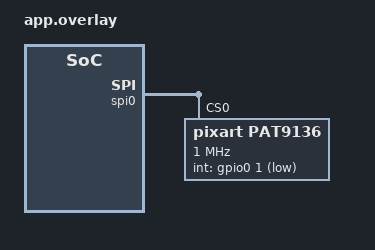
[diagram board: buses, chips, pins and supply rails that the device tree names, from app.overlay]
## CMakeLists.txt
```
# Copyright The Zephyr Project Contributors
# SPDX-License-Identifier: Apache-2.0

cmake_minimum_required(VERSION 3.28.0)
find_package(Zephyr REQUIRED HINTS $ENV{ZEPHYR_BASE})
project(pat9136)

target_include_directories(app PRIVATE ${ZEPHYR_BASE}/drivers/sensor/pixart/pat9136)
target_sources(app PRIVATE src/main.c)
```

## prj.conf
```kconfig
# Copyright The Zephyr Project Contributors
# SPDX-License-Identifier: Apache-2.0

CONFIG_ZTEST=y
CONFIG_SENSOR=y
CONFIG_EMUL=y
# The int-gpios property of the device refers to the emulated GPIO controller
CONFIG_GPIO=y
# No emulator backs the device, only its decoder is tested
CONFIG_SENSOR_LOG_LEVEL_OFF=y
```

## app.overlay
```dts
/*
 * Copyright The Zephyr Project Contributors
 *
 * SPDX-License-Identifier: Apache-2.0
 */

#include <zephyr/dt-bindings/gpio/gpio.h>

&spi0 {
	pat9136: pat9136@0 {
		compatible = "pixart,pat9136";
		reg = <0>;
		spi-max-frequency = <1000000>;
		int-gpios = <&gpio0 1 GPIO_ACTIVE_LOW>;
	};
};
```

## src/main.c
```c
/*
 * Copyright The Zephyr Project Contributors
 *
 * SPDX-License-Identifier: Apache-2.0
 */

#include <string.h>

#include <zephyr/drivers/sensor.h>
#include <zephyr/drivers/sensor/pat9136.h>
#include <zephyr/sys/byteorder.h>
#include <zephyr/ztest.h>

#include "pat9136.h"
#include "pat9136_decoder.h"

/* Allowed error of a decoded distance, in nm */
#define TOLERANCE_NM 20

#define TIMESTAMP_NS 123456789012ULL

#define MOTION_DETECTED   0x80U
#define OBSERVATION_VALID 0xB7U

static const struct sensor_decoder_api *decoder = SENSOR_DECODER_DT_GET(DT_NODELABEL(pat9136));

static const struct sensor_chan_spec chan_dx = {SENSOR_CHAN_POS_DX, 0};
static const struct sensor_chan_spec chan_dy = {SENSOR_CHAN_POS_DY, 0};
static const struct sensor_chan_spec chan_dxyz = {SENSOR_CHAN_POS_DXYZ, 0};
static const struct sensor_chan_spec chan_dx_mm = {SENSOR_CHAN_POS_DX_MM, 0};
static const struct sensor_chan_spec chan_dy_mm = {SENSOR_CHAN_POS_DY_MM, 0};
static const struct sensor_chan_spec chan_dxyz_mm = {SENSOR_CHAN_POS_DXYZ_MM, 0};

static struct pat9136_encoded_data edata;
static const uint8_t *const buffer = (const uint8_t *)&edata;

static void fill(uint8_t channels, uint16_t res_x, uint16_t res_y, int16_t dx, int16_t dy)
{
	memset(&edata, 0, sizeof(edata));
	edata.header.timestamp = TIMESTAMP_NS;
	edata.header.channels = channels;
	sys_put_le16(res_x, &edata.header.resolution.buf[0]);
	sys_put_le16(res_y, &edata.header.resolution.buf[2]);

	/* Burst read: motion, observation, delta X, delta Y, ... */
	edata.buf[0] = MOTION_DETECTED;
	edata.buf[1] = OBSERVATION_VALID;
	sys_put_le16((uint16_t)dx, &edata.buf[2]);
	sys_put_le16((uint16_t)dy, &edata.buf[4]);
}

/* Convert a q31 value in mm to nm */
static int64_t q31_mm_to_nm(q31_t value, int8_t shift)
{
	return ((int64_t)value * 1000000LL) >> (31 - shift);
}

/* One count is 25.4 mm / CPI, with CPI = (resolution + 1) * 100 */
static void check_mm(q31_t value, int8_t shift, int16_t raw, uint16_t res)
{
	int64_t expected = (int64_t)raw * 25400000LL / ((res + 1) * 100);
	int64_t actual = q31_mm_to_nm(value, shift);

	zassert_within(actual, expected, TOLERANCE_NM, "raw %d res %u: got %lld nm, expected %lld",
		       raw, res, actual, expected);
}

static void check_unsupported(struct sensor_chan_spec chan)
{
	struct sensor_three_axis_data out;
	uint16_t frame_count;
	uint32_t fit = 0;

	zassert_equal(decoder->get_frame_count(buffer, chan, &frame_count), -ENOTSUP);
	zassert_equal(decoder->decode(buffer, chan, &fit, 1, &out), -ENOTSUP);
	zassert_equal(decoder->decode(buffer, chan, &fit, 0, &out), -ENOTSUP);
}

static void check_no_data(struct sensor_chan_spec chan)
{
	struct sensor_three_axis_data out;
	uint16_t frame_count;
	uint32_t fit = 0;

	zassert_equal(decoder->get_frame_count(buffer, chan, &frame_count), -ENODATA);
	zassert_equal(decoder->decode(buffer, chan, &fit, 1, &out), -ENODATA);
	zassert_equal(decoder->decode(buffer, chan, &fit, 0, &out), -ENODATA);
}

static void check_size(struct sensor_chan_spec chan, size_t base, size_t frame)
{
	size_t base_size;
	size_t frame_size;

	zassert_ok(decoder->get_size_info(chan, &base_size, &frame_size));
	zassert_equal(base_size, base);
	zassert_equal(frame_size, frame);
}

ZTEST(pat9136_decoder, test_size_info)
{
	size_t base_size;
	size_t frame_size;

	check_size(chan_dx, sizeof(struct sensor_q31_data), sizeof(struct sensor_q31_sample_data));
	check_size(chan_dy, sizeof(struct sensor_q31_data), sizeof(struct sensor_q31_sample_data));
	check_size(chan_dx_mm, sizeof(struct sensor_q31_data),
		   sizeof(struct sensor_q31_sample_data));
	check_size(chan_dy_mm, sizeof(struct sensor_q31_data),
		   sizeof(struct sensor_q31_sample_data));
	check_size(chan_dxyz, sizeof(struct sensor_three_axis_data),
		   sizeof(struct sensor_three_axis_sample_data));
	check_size(chan_dxyz_mm, sizeof(struct sensor_three_axis_data),
		   sizeof(struct sensor_three_axis_sample_data));

	zassert_equal(decoder->get_size_info((struct sensor_chan_spec){SENSOR_CHAN_ACCEL_XYZ, 0},
					     &base_size, &frame_size),
		      -ENOTSUP);
}

ZTEST(pat9136_decoder, test_counts)
{
	struct sensor_q31_data out;
	struct sensor_three_axis_data out3;
	uint16_t frame_count;
	uint32_t fit = 0;

	fill(pat9136_encode_channel(SENSOR_CHAN_ALL), 19, 19, -1234, 32767);

	zassert_ok(decoder->get_frame_count(buffer, chan_dx, &frame_count));
	zassert_equal(frame_count, 1);

	/* Unwritten fields must be set by the decoder */
	memset(&out, 0xff, sizeof(out));
	zassert_equal(decoder->decode(buffer, chan_dx, &fit, 1, &out), 1);
	zassert_equal(out.header.reading_count, 1);
	zassert_equal(out.header.base_timestamp_ns, TIMESTAMP_NS);
	zassert_equal(out.readings[0].timestamp_delta, 0);
	zassert_equal(out.shift, 31);
	zassert_equal(out.readings[0].value, -1234);
	zassert_equal(decoder->decode(buffer, chan_dx, &fit, 1, &out), 0);

	fit = 0;
	zassert_ok(decoder->get_frame_count(buffer, chan_dy, &frame_count));
	zassert_equal(frame_count, 1);
	zassert_equal(decoder->decode(buffer, chan_dy, &fit, 8, &out), 1);
	zassert_equal(out.shift, 31);
	zassert_equal(out.readings[0].value, 32767);
	zassert_equal(decoder->decode(buffer, chan_dy, &fit, 8, &out), 0);

	fit = 0;
	memset(&out3, 0xff, sizeof(out3));
	zassert_ok(decoder->get_frame_count(buffer, chan_dxyz, &frame_count));
	zassert_equal(frame_count, 1);
	zassert_equal(decoder->decode(buffer, chan_dxyz, &fit, 1, &out3), 1);
	zassert_equal(out3.header.reading_count, 1);
	zassert_equal(out3.header.base_timestamp_ns, TIMESTAMP_NS);
	zassert_equal(out3.readings[0].timestamp_delta, 0);
	zassert_equal(out3.shift, 31);
	zassert_equal(out3.readings[0].x, -1234);
	zassert_equal(out3.readings[0].y, 32767);
	zassert_equal(out3.readings[0].z, 0);
	zassert_equal(decoder->decode(buffer, chan_dxyz, &fit, 1, &out3), 0);

	/* No readings requested */
	fit = 0;
	zassert_equal(decoder->decode(buffer, chan_dx, &fit, 0, &out), 0);
}

static const struct {
	uint16_t res;
	int8_t shift;
} mm_shifts[] = {
	{0, 14}, {1, 13},  {3, 12},  {4, 11},  {19, 9},  {63, 8},
	{64, 8}, {127, 7}, {128, 7}, {129, 7}, {130, 6}, {199, 6},
};

static const int16_t mm_raw[] = {1, -1, 1000, -1234, 32767, -32768};

ZTEST(pat9136_decoder, test_mm)
{
	struct sensor_q31_data out;
	struct sensor_three_axis_data out3;
	uint16_t frame_count;
	uint32_t fit;

	for (size_t i = 0; i < ARRAY_SIZE(mm_shifts); i++) {
		uint16_t res = mm_shifts[i].res;

		for (size_t j = 0; j < ARRAY_SIZE(mm_raw); j++) {
			int16_t raw = mm_raw[j];

			fill(pat9136_encode_channel(SENSOR_CHAN_ALL), res, res, raw, -raw / 2);

			fit = 0;
			zassert_ok(decoder->get_frame_count(buffer, chan_dx_mm, &frame_count));
			zassert_equal(frame_count, 1);
			zassert_equal(decoder->decode(buffer, chan_dx_mm, &fit, 1, &out), 1);
			zassert_equal(out.header.base_timestamp_ns, TIMESTAMP_NS);
			zassert_equal(out.readings[0].timestamp_delta, 0);
			zassert_equal(out.shift, mm_shifts[i].shift, "res %u: shift %d", res,
				      out.shift);
			check_mm(out.readings[0].value, out.shift, raw, res);

			fit = 0;
			zassert_equal(decoder->decode(buffer, chan_dy_mm, &fit, 1, &out), 1);
			zassert_equal(out.shift, mm_shifts[i].shift);
			check_mm(out.readings[0].value, out.shift, -raw / 2, res);

			fit = 0;
			zassert_equal(decoder->decode(buffer, chan_dxyz_mm, &fit, 1, &out3), 1);
			zassert_equal(out3.header.base_timestamp_ns, TIMESTAMP_NS);
			zassert_equal(out3.readings[0].timestamp_delta, 0);
			zassert_equal(out3.shift, mm_shifts[i].shift);
			check_mm(out3.readings[0].x, out3.shift, raw, res);
			check_mm(out3.readings[0].y, out3.shift, -raw / 2, res);
			zassert_equal(out3.readings[0].z, 0);
			zassert_equal(decoder->decode(buffer, chan_dxyz_mm, &fit, 1, &out3), 0);
		}
	}
}

/* Resolutions the device is not configured with, such as garbage upper bytes */
static const struct {
	uint16_t res;
	int8_t shift;
} mm_high_shifts[] = {
	{200, 6}, {255, 6}, {256, 6}, {327, 5}, {4660, 1}, {65535, 0},
};

ZTEST(pat9136_decoder, test_mm_high_resolution)
{
	struct sensor_three_axis_data out3;
	uint32_t fit;

	for (size_t i = 0; i < ARRAY_SIZE(mm_high_shifts); i++) {
		uint16_t res = mm_high_shifts[i].res;

		for (size_t j = 0; j < ARRAY_SIZE(mm_raw); j++) {
			int16_t raw = mm_raw[j];

			fill(pat9136_encode_channel(SENSOR_CHAN_ALL), res, res, raw, -raw / 2);

			fit = 0;
			zassert_equal(decoder->decode(buffer, chan_dxyz_mm, &fit, 1, &out3), 1);
			zassert_equal(out3.shift, mm_high_shifts[i].shift, "res %u: shift %d", res,
				      out3.shift);
			check_mm(out3.readings[0].x, out3.shift, raw, res);
			check_mm(out3.readings[0].y, out3.shift, -raw / 2, res);
		}
	}
}

ZTEST(pat9136_decoder, test_mm_per_axis_resolution)
{
	struct sensor_q31_data out;
	struct sensor_three_axis_data out3;
	uint32_t fit = 0;

	/* The shift covers the lowest resolution, each axis is scaled with its own */
	fill(pat9136_encode_channel(SENSOR_CHAN_ALL), 64, 19, 32767, -20000);

	zassert_equal(decoder->decode(buffer, chan_dxyz_mm, &fit, 4, &out3), 1);
	zassert_equal(out3.header.reading_count, 1);
	zassert_equal(out3.shift, 9);
	check_mm(out3.readings[0].x, out3.shift, 32767, 64);
	check_mm(out3.readings[0].y, out3.shift, -20000, 19);
	zassert_equal(out3.readings[0].z, 0);

	fit = 0;
	zassert_equal(decoder->decode(buffer, chan_dx_mm, &fit, 1, &out), 1);
	zassert_equal(out.shift, 9);
	check_mm(out.readings[0].value, out.shift, 32767, 64);

	fit = 0;
	zassert_equal(decoder->decode(buffer, chan_dy_mm, &fit, 1, &out), 1);
	zassert_equal(out.shift, 9);
	check_mm(out.readings[0].value, out.shift, -20000, 19);
}

ZTEST(pat9136_decoder, test_no_data)
{
	struct sensor_three_axis_data out3;
	uint32_t fit = 0;

	/* Stream buffers only carry the 3-axis channels */
	fill(pat9136_encode_channel(SENSOR_CHAN_POS_DXYZ) |
		     pat9136_encode_channel(SENSOR_CHAN_POS_DXYZ_MM),
	     19, 19, 10, 20);

	zassert_equal(decoder->decode(buffer, chan_dxyz, &fit, 1, &out3), 1);
	zassert_equal(out3.readings[0].x, 10);
	zassert_equal(out3.readings[0].y, 20);
	fit = 0;
	zassert_equal(decoder->decode(buffer, chan_dxyz_mm, &fit, 1, &out3), 1);
	check_mm(out3.readings[0].x, out3.shift, 10, 19);
	check_mm(out3.readings[0].y, out3.shift, 20, 19);

	check_no_data(chan_dx);
	check_no_data(chan_dy);
	check_no_data(chan_dx_mm);
	check_no_data(chan_dy_mm);

	/* Buffer without channels */
	fill(0, 19, 19, 10, 20);
	check_no_data(chan_dxyz);
	check_no_data(chan_dxyz_mm);

	/* No motion */
	fill(pat9136_encode_channel(SENSOR_CHAN_ALL), 19, 19, 0, 0);
	edata.buf[0] = 0;
	check_no_data(chan_dx);
	check_no_data(chan_dxyz);
	check_no_data(chan_dxyz_mm);

	/* Invalid observation register */
	fill(pat9136_encode_channel(SENSOR_CHAN_ALL), 19, 19, 10, 20);
	edata.buf[1] = 0xA5;
	check_no_data(chan_dy);
	check_no_data(chan_dxyz);

	/* The other valid observation value */
	edata.buf[1] = 0xBF;
	fit = 0;
	zassert_equal(decoder->decode(buffer, chan_dxyz, &fit, 1, &out3), 1);
	zassert_equal(decoder->decode(buffer, chan_dxyz, &fit, 1, &out3), 0);

	/* Invalid data is reported also once the reading has been decoded */
	edata.buf[0] = 0;
	zassert_equal(decoder->decode(buffer, chan_dxyz, &fit, 1, &out3), -ENODATA);
}

ZTEST(pat9136_decoder, test_unsupported)
{
	fill(pat9136_encode_channel(SENSOR_CHAN_ALL), 19, 19, 10, 20);

	check_unsupported((struct sensor_chan_spec){SENSOR_CHAN_ACCEL_XYZ, 0});
	check_unsupported((struct sensor_chan_spec){SENSOR_CHAN_POS_DZ, 0});
	check_unsupported((struct sensor_chan_spec){SENSOR_CHAN_POS_DX, 1});
	check_unsupported((struct sensor_chan_spec){SENSOR_CHAN_POS_DXYZ_MM, 1});
	check_unsupported((struct sensor_chan_spec){SENSOR_CHAN_ALL, 0});

	/* The channel is checked before the data */
	edata.buf[0] = 0;
	check_unsupported((struct sensor_chan_spec){SENSOR_CHAN_ACCEL_XYZ, 0});
	check_unsupported((struct sensor_chan_spec){SENSOR_CHAN_POS_DX, 1});
}

ZTEST(pat9136_decoder, test_has_trigger)
{
	fill(pat9136_encode_channel(SENSOR_CHAN_ALL), 19, 19, 10, 20);

	zassert_false(decoder->has_trigger(buffer, SENSOR_TRIG_DATA_READY));
	zassert_false(decoder->has_trigger(buffer, SENSOR_TRIG_MOTION));

	edata.header.events.drdy = true;
	zassert_true(decoder->has_trigger(buffer, SENSOR_TRIG_DATA_READY));
	zassert_false(decoder->has_trigger(buffer, SENSOR_TRIG_MOTION));

	edata.header.events.drdy = false;
	edata.header.events.motion = true;
	zassert_false(decoder->has_trigger(buffer, SENSOR_TRIG_DATA_READY));
	zassert_true(decoder->has_trigger(buffer, SENSOR_TRIG_MOTION));
	zassert_false(decoder->has_trigger(buffer, SENSOR_TRIG_FIFO_WATERMARK));
}

ZTEST_SUITE(pat9136_decoder, NULL, NULL, NULL, NULL, NULL);
```
